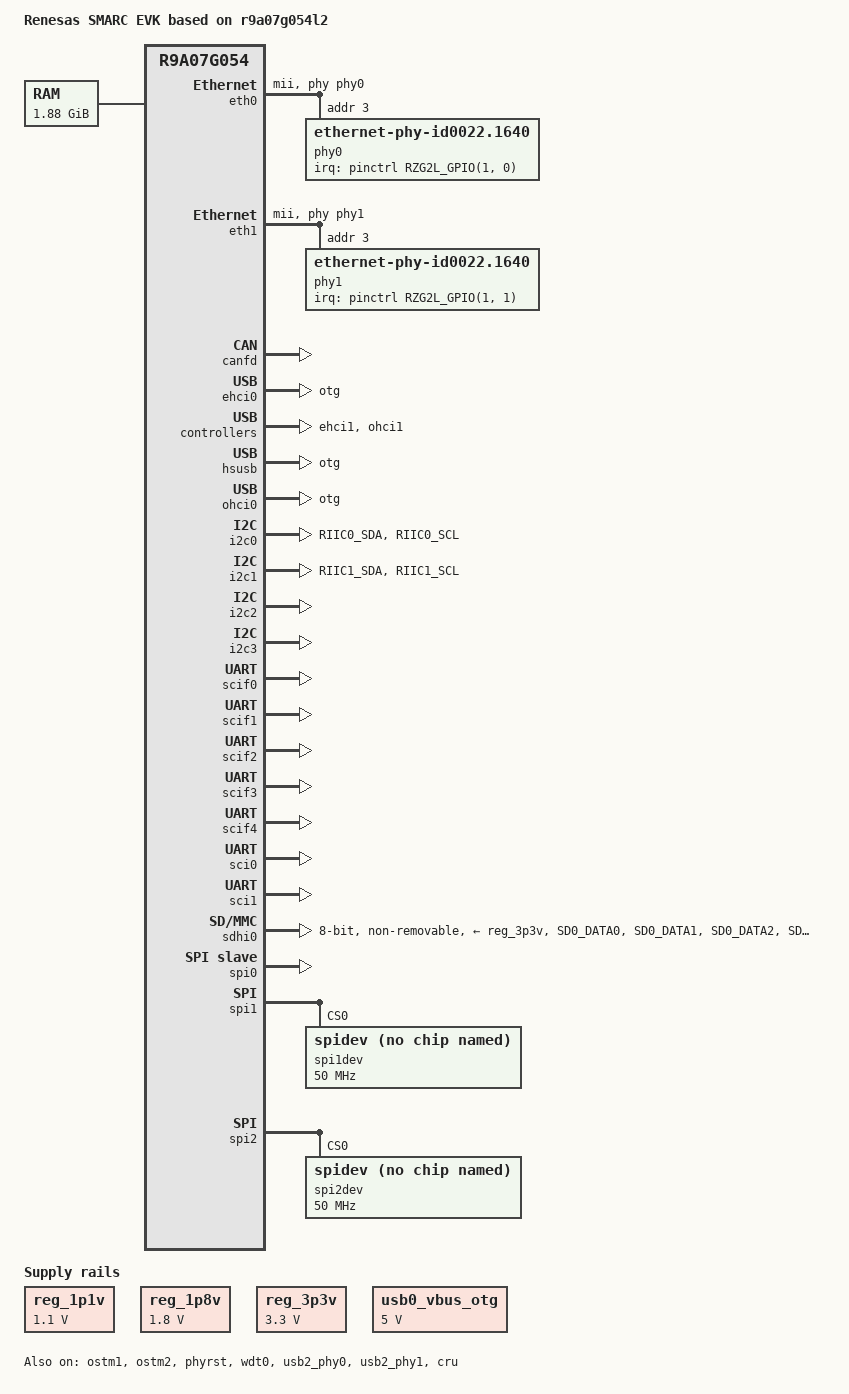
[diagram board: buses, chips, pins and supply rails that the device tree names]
// SPDX-License-Identifier: (GPL-2.0-only OR BSD-2-Clause)
/*
 * Device Tree Source for the RZ/V2L R9A07G054L2 SoC specific parts
 *
 * Copyright (C) 2021 Renesas Electronics Corp.
 */
#include "r9a07g054.dtsi"

#include <dt-bindings/gpio/gpio.h>
#include <dt-bindings/pinctrl/rzg2l-pinctrl.h>

/ {
	model = "Renesas SMARC EVK based on r9a07g054l2";
	compatible = "renesas,smarc-evk", "renesas,r9a07g054l2", "renesas,r9a07g054";

	aliases {
		ethernet0 = &eth0;
		ethernet1 = &eth1;

        serial0 = &scif0;
        serial1 = &scif1;
        serial2 = &scif2;
        serial3 = &scif3;
        serial4 = &scif4;
        serial5 = &sci0;
        serial6 = &sci1;

		i2c0 = &i2c0;
		i2c1 = &i2c1;
        i2c2 = &i2c2;
        i2c3 = &i2c3;

		mmc0 = &sdhi0;

        rspi0 = &spi0;
        rspi1 = &spi1;
        rspi2 = &spi2;
	};

	memory@48000000 {
		device_type = "memory";
		/* first 128MB is reserved for secure area. */
		reg = <0x0 0x48000000 0x0 0x78000000>;
	};

	reserved-memory {
		#address-cells = <2>;
		#size-cells = <2>;
		ranges;

		/* device specific region for contiguous allocations */
		drp_reserved: DRP-AI {
			reusable;
			reg = <0x0 0x80000000 0x0 0x20000000>;
		};  

		image_buf0: image_buf@0 {
			compatible = "shared-dma-pool";
			reusable;
			reg = <0x0 0xB0000000 0x0 0x04000000>;
			label = "image_buf0";
		};

		isp_work0: SIMPLE_ISP {
			reusable;
			reg = <0x0 0xB4000000 0x0 0x03000000>;
		};

		global_cma: linux,cma@58000000 {
			compatible = "shared-dma-pool";
			linux,cma-default;
			reusable;
			reg = <0x0 0x58000000 0x0 0x10000000>;
		};
		mmp_reserved: linux,multimedia {
			compatible = "shared-dma-pool";
			reusable;
			reg = <0x00000000 0x68000000 0x0 0x8000000>;
		};
	};

	mmngr {
		compatible = "renesas,mmngr";
		memory-region = <&mmp_reserved>;
	};

	mmngrbuf {
		compatible = "renesas,mmngrbuf";
	};

	vspm_if {
		compatible = "renesas,vspm_if";
	};

	reg_1p1v: regulator-vdd-core {
		compatible = "regulator-fixed";
		regulator-name = "fixed-1.1V";
		regulator-min-microvolt = <1100000>;
		regulator-max-microvolt = <1100000>;
		regulator-boot-on;
		regulator-always-on;
	};

	reg_1p8v: regulator0 {
		compatible = "regulator-fixed";
		regulator-name = "fixed-1.8V";
		regulator-min-microvolt = <1800000>;
		regulator-max-microvolt = <1800000>;
		regulator-boot-on;
		regulator-always-on;
	};

	reg_3p3v: regulator1 {
		compatible = "regulator-fixed";
		regulator-name = "fixed-3.3V";
		regulator-min-microvolt = <3300000>;
		regulator-max-microvolt = <3300000>;
		regulator-boot-on;
		regulator-always-on;
	};

	usb0_vbus_otg: regulator-usb0-vbus-otg {
		compatible = "regulator-fixed";

		regulator-name = "USB0_VBUS_OTG";
		regulator-min-microvolt = <5000000>;
		regulator-max-microvolt = <5000000>;
	};
};

&adc {
	pinctrl-names = "default";
	status = "disabled";

	/delete-node/ channel@4;
	/delete-node/ channel@5;
	/delete-node/ channel@6;
	/delete-node/ channel@7;
};

&eth0 {
	pinctrl-0 = <&eth0_pins>;
	pinctrl-names = "default";
	phy-handle = <&phy0>;
	phy-mode = "mii";
	status = "okay";

	phy0: ethernet-phy@3 {
		compatible = "ethernet-phy-id0022.1640",
			     "ethernet-phy-ieee802.3-c22";
		reg = <3>;
		led-mode = <1>;
		rxc-skew-psec = <2400>;
		txc-skew-psec = <2400>;
		rxdv-skew-psec = <0>;
		txen-skew-psec = <0>;
		rxd0-skew-psec = <0>;
		rxd1-skew-psec = <0>;
		rxd2-skew-psec = <0>;
		rxd3-skew-psec = <0>;
		txd0-skew-psec = <0>;
		txd1-skew-psec = <0>;
		txd2-skew-psec = <0>;
		txd3-skew-psec = <0>;

		interrupt-parent = <&pinctrl>;
		interrupts = <RZG2L_GPIO(1, 0) IRQ_TYPE_LEVEL_LOW>;
	};
};

&eth1 {
	pinctrl-0 = <&eth1_pins>;
	pinctrl-names = "default";
	phy-handle = <&phy1>;
	phy-mode = "mii";
	status = "okay";

	phy1: ethernet-phy@3 {
		compatible = "ethernet-phy-id0022.1640",
			     "ethernet-phy-ieee802.3-c22";
		reg = <3>;
		led-mode = <1>;
		rxc-skew-psec = <2400>;
		txc-skew-psec = <2400>;
		rxdv-skew-psec = <0>;
		txen-skew-psec = <0>;
		rxd0-skew-psec = <0>;
		rxd1-skew-psec = <0>;
		rxd2-skew-psec = <0>;
		rxd3-skew-psec = <0>;
		txd0-skew-psec = <0>;
		txd1-skew-psec = <0>;
		txd2-skew-psec = <0>;
		txd3-skew-psec = <0>;

		interrupt-parent = <&pinctrl>;
		interrupts = <RZG2L_GPIO(1, 1) IRQ_TYPE_LEVEL_LOW>;
	};
};

&extal_clk {
	clock-frequency = <24000000>;
};

&ostm1 {
	status = "okay";
};

&ostm2 {
	status = "okay";
};

&pinctrl {
	can0_pins: can0 {
		pinmux = <RZG2L_PORT_PINMUX(10, 1, 2)>, /* TX */
			 <RZG2L_PORT_PINMUX(11, 0, 2)>; /* RX */
	};

	can1_pins: can1 {
		pinmux = <RZG2L_PORT_PINMUX(12, 1, 2)>, /* TX */
			 <RZG2L_PORT_PINMUX(13, 0, 2)>; /* RX */
	};

	eth0_pins: eth0 {
		pinmux = <RZG2L_PORT_PINMUX(27, 1, 1)>, /* ET0_MDC */
			 <RZG2L_PORT_PINMUX(28, 0, 1)>, /* ET0_MDIO */
			 <RZG2L_PORT_PINMUX(20, 0, 1)>, /* ET0_TXC */
			 <RZG2L_PORT_PINMUX(20, 1, 1)>, /* ET0_TX_CTL */
			 <RZG2L_PORT_PINMUX(20, 2, 1)>, /* ET0_TXD0 */
			 <RZG2L_PORT_PINMUX(21, 0, 1)>, /* ET0_TXD1 */
			 <RZG2L_PORT_PINMUX(21, 1, 1)>, /* ET0_TXD2 */
			 <RZG2L_PORT_PINMUX(22, 0, 1)>, /* ET0_TXD3 */
			 <RZG2L_PORT_PINMUX(22, 1, 1)>,	/* ETH0_TX_ERR */
			 <RZG2L_PORT_PINMUX(23, 0, 1)>,	/* ETH0_TX_COL */
			 <RZG2L_PORT_PINMUX(23, 1, 1)>, /* ETH0_TX_CRS */
			 <RZG2L_PORT_PINMUX(24, 0, 1)>, /* ET0_RXC */
			 <RZG2L_PORT_PINMUX(24, 1, 1)>, /* ET0_RX_CTL */
			 <RZG2L_PORT_PINMUX(25, 0, 1)>, /* ET0_RXD0 */
			 <RZG2L_PORT_PINMUX(25, 1, 1)>, /* ET0_RXD1 */
			 <RZG2L_PORT_PINMUX(26, 0, 1)>, /* ET0_RXD2 */
			 <RZG2L_PORT_PINMUX(26, 1, 1)>, /* ET0_RXD3 */
			 <RZG2L_PORT_PINMUX(27, 0, 1)>; /* ETH0_RX_ERR */
	};

	eth1_pins: eth1 {
		pinmux = <RZG2L_PORT_PINMUX(37, 0, 1)>, /* ET1_MDC */
			 <RZG2L_PORT_PINMUX(37, 1, 1)>, /* ET1_MDIO */
			 <RZG2L_PORT_PINMUX(29, 0, 1)>, /* ET1_TXC */
			 <RZG2L_PORT_PINMUX(29, 1, 1)>, /* ET1_TX_CTL */
			 <RZG2L_PORT_PINMUX(30, 0, 1)>, /* ET1_TXD0 */
			 <RZG2L_PORT_PINMUX(30, 1, 1)>, /* ET1_TXD1 */
			 <RZG2L_PORT_PINMUX(31, 0, 1)>, /* ET1_TXD2 */
			 <RZG2L_PORT_PINMUX(31, 1, 1)>, /* ET1_TXD3 */
			 <RZG2L_PORT_PINMUX(32, 0, 1)>, /* ETH1_TX_ERR */
			 <RZG2L_PORT_PINMUX(32, 1, 1)>, /* ETH1_TX_COL */
			 <RZG2L_PORT_PINMUX(33, 0, 1)>, /* ETH1_TX_CRS */
			 <RZG2L_PORT_PINMUX(33, 1, 1)>, /* ET1_RXC */
			 <RZG2L_PORT_PINMUX(34, 0, 1)>, /* ET1_RX_CTL */
			 <RZG2L_PORT_PINMUX(34, 1, 1)>, /* ET1_RXD0 */
			 <RZG2L_PORT_PINMUX(35, 0, 1)>, /* ET1_RXD1 */
			 <RZG2L_PORT_PINMUX(35, 1, 1)>, /* ET1_RXD2 */
			 <RZG2L_PORT_PINMUX(36, 0, 1)>, /* ET1_RXD3 */
			 <RZG2L_PORT_PINMUX(36, 1, 1)>; /* ETH1_RX_ERR */
	};

	qspi0_pins: qspi0 {
		qspi0-data {
			pins = "QSPI0_IO0", "QSPI0_IO1", "QSPI0_IO2", "QSPI0_IO3";
			power-source = <1800>;
		};

		qspi0-ctrl {
			pins = "QSPI0_SPCLK", "QSPI0_SSL", "QSPI_RESET#";
			power-source = <1800>;
		};
	};

	sdhi0_emmc_pins: sd0emmc {
		sd0_emmc_data {
			pins = "SD0_DATA0", "SD0_DATA1", "SD0_DATA2", "SD0_DATA3",
			       "SD0_DATA4", "SD0_DATA5", "SD0_DATA6", "SD0_DATA7";
			power-source = <1800>;
		};

		sd0_emmc_ctrl {
			pins = "SD0_CLK", "SD0_CMD";
			power-source = <1800>;
		};

		sd0_emmc_rst {
			pins = "SD0_RST#";
			power-source = <1800>;
		};
	};

	i2c0_pins: i2c0 {
		pins = "RIIC0_SDA", "RIIC0_SCL";
		input-enable;
	};

	i2c1_pins: i2c1 {
		pins = "RIIC1_SDA", "RIIC1_SCL";
		input-enable;
	};

	i2c2_pins: i2c2 {
		pinmux = <RZG2L_PORT_PINMUX(19, 0, 4)>, /* SDA */
			 <RZG2L_PORT_PINMUX(19, 1, 4)>; /* SCL */
	};

	i2c3_pins: i2c3 {
		pinmux = <RZG2L_PORT_PINMUX(18, 0, 3)>, /* SDA */
			 <RZG2L_PORT_PINMUX(18, 1, 3)>; /* SCL */
	};

	scif0_pins: scif0 {
		pinmux = <RZG2L_PORT_PINMUX(38, 0, 1)>,	/* TxD */
			 <RZG2L_PORT_PINMUX(38, 1, 1)>;	/* RxD */
	};

    scif1_pins: scif1 {
		pinmux = <RZG2L_PORT_PINMUX(40, 0, 1)>,	/* TxD */
			 <RZG2L_PORT_PINMUX(40, 1, 1)>;	/* RxD */
	};

	scif2_pins: scif2 {
		pinmux = <RZG2L_PORT_PINMUX(48, 0, 1)>,	/* TxD */
			 <RZG2L_PORT_PINMUX(48, 1, 1)>;	/* RxD */
	};

	scif3_pins: scif3 {
		pinmux = <RZG2L_PORT_PINMUX(0, 0, 5)>,	/* TxD */
			 <RZG2L_PORT_PINMUX(0, 1, 5)>;	/* RxD */
	};

	scif4_pins: scif4 {
		pinmux = <RZG2L_PORT_PINMUX(2, 0, 5)>,	/* TxD */
			 <RZG2L_PORT_PINMUX(2, 1, 5)>;	/* RxD */
	};

	sci0_pins: sci0 {
		pinmux = <RZG2L_PORT_PINMUX(47, 1, 1)>, /* TxD */
			 <RZG2L_PORT_PINMUX(47, 0, 1)>; /* RxD */
	};

	sci1_pins: sci1 {
		pinmux = <RZG2L_PORT_PINMUX(45, 1, 3)>, /* TxD */
			 <RZG2L_PORT_PINMUX(45, 0, 3)>; /* RxD */
	};

	spi0_pins: spi0 {
		pinmux = <RZG2L_PORT_PINMUX(43, 0, 1)>,/* CK */
			<RZG2L_PORT_PINMUX(43, 1, 1)>,/* MOSI */
			<RZG2L_PORT_PINMUX(43, 2, 1)>,/* MISO */
			<RZG2L_PORT_PINMUX(43, 3, 1)>;/* SSL */
	};

	spi1_pins: spi1 {
		pinmux = <RZG2L_PORT_PINMUX(44, 0, 1)>, /* CK */
			 <RZG2L_PORT_PINMUX(44, 1, 1)>, /* MOSI */
			 <RZG2L_PORT_PINMUX(44, 2, 1)>, /* MISO */
			 <RZG2L_PORT_PINMUX(44, 3, 1)>; /* SSL */
	};

	spi2_pins: spi2 {
		pinmux = <RZG2L_PORT_PINMUX(8, 0, 1)>, /* CK */
			 <RZG2L_PORT_PINMUX(8, 1, 1)>, /* MOSI */
			 <RZG2L_PORT_PINMUX(8, 2, 1)>, /* MISO */
			 <RZG2L_PORT_PINMUX(9, 0, 1)>; /* SSL */
	};

	usb0_pins: usb0 {
		pinmux = <RZG2L_PORT_PINMUX(4, 0, 1)>, /* VBUS */
			 <RZG2L_PORT_PINMUX(5, 0, 1)>, /* OVC */
			 <RZG2L_PORT_PINMUX(5, 1, 1)>; /* OTG_ID */
	};

	usb1_pins: usb1 {
		pinmux = <RZG2L_PORT_PINMUX(42, 0, 1)>, /* VBUS */
			 <RZG2L_PORT_PINMUX(42, 1, 1)>; /* OVC */
	};
};

&canfd {
	pinctrl-0 = <&can0_pins &can1_pins>;
	pinctrl-names = "default";
	status = "okay";

	channel0 {
		status = "okay";
	};

	channel1 {
		status = "okay";
	};
};

&ehci0 {
	dr_mode = "otg";
	status = "okay";

	memory-region = <&global_cma>;
};

&ehci1 {
	status = "okay";

	memory-region = <&global_cma>;
};

&hsusb {
	dr_mode = "otg";
	status = "okay";
};

&ohci0 {
	dr_mode = "otg";
	status = "okay";

	memory-region = <&global_cma>;
};

&ohci1 {
	status = "okay";

	memory-region = <&global_cma>;
};

&phyrst {
	status = "okay";
};

&wdt0 {
	status = "okay";
	timeout-sec = <60>;
};

&gpu {
	mali-supply = <&reg_1p1v>;
};

&i2c0 {
	pinctrl-0 = <&i2c0_pins>;
	pinctrl-names = "default";
	status = "okay";
};

&i2c1 {
	pinctrl-0 = <&i2c1_pins>;
	pinctrl-names = "default";
	status = "okay";
};

&i2c2 {
	pinctrl-0 = <&i2c2_pins>;
	pinctrl-names = "default";
	status = "okay";
};

&i2c3 {
	pinctrl-0 = <&i2c3_pins>;
	pinctrl-names = "default";
	status = "okay";
};

&scif0 {
	pinctrl-0 = <&scif0_pins>;
	pinctrl-names = "default";
	status = "okay";
};

&scif1 {
	pinctrl-0 = <&scif1_pins>;
	pinctrl-names = "default";
	status = "okay";
};

&scif2 {
	pinctrl-0 = <&scif2_pins>;
	pinctrl-names = "default";
	status = "okay";
};

&scif3 {
	pinctrl-0 = <&scif3_pins>;
	pinctrl-names = "default";
	status = "okay";
};

&scif4 {
	pinctrl-0 = <&scif4_pins>;
	pinctrl-names = "default";
	status = "okay";
};

&sci0 {
	pinctrl-0 = <&sci0_pins>;
	pinctrl-names = "default";
	status = "okay";
};

&sci1 {
	pinctrl-0 = <&sci1_pins>;
	pinctrl-names = "default";
	status = "okay";
};

&sbc {
	pinctrl-0 = <&qspi0_pins>;
	pinctrl-names = "default";
	status = "disabled";
};

&sdhi0 {
	pinctrl-0 = <&sdhi0_emmc_pins>;
	pinctrl-1 = <&sdhi0_emmc_pins>;
	pinctrl-names = "default", "state_uhs";

	vmmc-supply = <&reg_3p3v>;
	vqmmc-supply = <&reg_1p8v>;
	bus-width = <8>;
	mmc-hs200-1_8v;
	non-removable;
	fixed-emmc-driver-type = <1>;
	status = "okay";
};

&spi0 {
	pinctrl-0 = <&spi0_pins>;
	pinctrl-names = "default";
	spi-slave;
	status = "okay";
	spidev@0 {
		compatible = "rohm,dh2228fv";
		spi-cpha;
		spi-cpol;
	};
};

&spi1 {
	pinctrl-0 = <&spi1_pins>;
	pinctrl-names = "default";
	status = "okay";
	spi1dev@0 {
		compatible = "rohm,dh2228fv";
		reg = <0>;
		spi-max-frequency = <50000000>;
		spi-cpha; 
		spi-cpol; 		
	};
};

&spi2 {
	pinctrl-0 = <&spi2_pins>;
	pinctrl-names = "default";
	status = "okay";
	spi2dev@0 {
		compatible = "rohm,dh2228fv";
		reg = <0>;
		spi-max-frequency = <50000000>;
		spi-cpha; 
		spi-cpol; 		
	};
};

&usb2_phy0 {
	pinctrl-0 = <&usb0_pins>;
	pinctrl-names = "default";

	vbus-supply = <&usb0_vbus_otg>;
	status = "okay";
};

&usb2_phy1 {
	pinctrl-0 = <&usb1_pins>;
	pinctrl-names = "default";

	status = "okay";
};

&cru {
	status = "okay";
};
